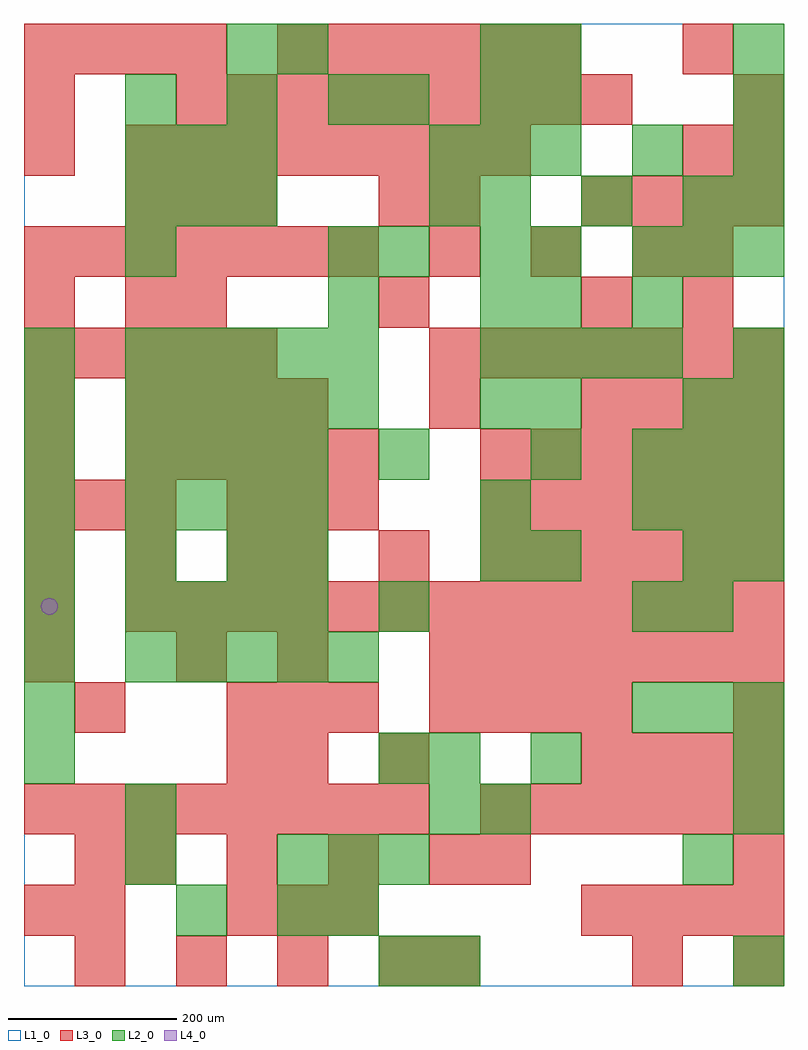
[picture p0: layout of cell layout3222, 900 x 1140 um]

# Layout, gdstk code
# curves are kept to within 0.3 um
import gdstk
lib = gdstk.Library(unit=1e-6, precision=1e-09)
def R(c, l, rs):  # rectangles x0, y0, x1, y1
    for r in rs: c.add(gdstk.rectangle(r[:2], r[2:], *l))
def A(c, l, x, y, w, h, nx, ny, dx, dy):  # array of equal rectangles
    R(c, l, [(x+i*dx, y+j*dy, x+i*dx+w, y+j*dy+h) for i in range(nx) for j in range(ny)])
def P(c, l, *ps):  # polygons
    for p in ps: c.add(gdstk.Polygon(p, *l))
L1_0 = (1, 0)
L2_0 = (2, 0)
L3_0 = (3, 0)
L4_0 = (4, 0)

layout3222 = lib.new_cell('layout3222')
R(layout3222, L1_0, [(0,0,900,1140)])
A(layout3222, L2_0, 300, 120, 60, 60, 3, 1, 60, 0)
A(layout3222, L2_0, 0, 240, 60, 60, 1, 4, 0, 60)
A(layout3222, L2_0, 420, 240, 60, 60, 1, 3, 0, 180)
A(layout3222, L2_0, 720, 300, 60, 60, 3, 2, 60, 240)
A(layout3222, L2_0, 120, 360, 60, 60, 5, 2, 60, 300)
A(layout3222, L2_0, 120, 420, 60, 60, 4, 2, 60, 120)
A(layout3222, L2_0, 0, 480, 60, 60, 3, 1, 120, 0)
A(layout3222, L2_0, 0, 540, 60, 60, 1, 4, 0, 60)
A(layout3222, L2_0, 540, 540, 60, 60, 1, 3, 0, 120)
A(layout3222, L2_0, 120, 600, 60, 60, 4, 1, 60, 0)
A(layout3222, L2_0, 720, 600, 60, 60, 3, 2, 60, 240)
A(layout3222, L2_0, 120, 720, 60, 60, 5, 1, 60, 0)
A(layout3222, L2_0, 540, 720, 60, 60, 4, 1, 60, 0)
A(layout3222, L2_0, 120, 900, 60, 60, 3, 2, 60, 60)
A(layout3222, L2_0, 540, 900, 60, 60, 3, 1, 120, 0)
A(layout3222, L2_0, 840, 900, 60, 60, 1, 4, 0, 60)
A(layout3222, L2_0, 480, 960, 60, 60, 3, 1, 60, 0)
A(layout3222, L2_0, 120, 1020, 60, 60, 3, 1, 120, 0)
R(layout3222, L2_0, [(420,0,480,60), (480,0,540,60), (840,0,900,60), (180,60,240,120), (300,60,360,120), (360,60,420,120), (120,120,180,180), (780,120,840,180), (120,180,180,240), (480,180,540,240), (540,180,600,240), (840,180,900,240), (480,240,540,300), (600,240,660,300), (840,240,900,300), (720,420,780,480), (780,420,840,480), (300,480,360,540), (540,480,600,540), (600,480,660,540), (780,480,840,540), (840,480,900,540), (600,600,660,660), (600,660,660,720), (780,660,840,720), (840,660,900,720), (840,720,900,780), (360,780,420,840), (600,780,660,840), (720,780,780,840), (120,840,180,900), (360,840,420,900), (420,840,480,900), (540,840,600,900), (600,840,660,900), (480,900,540,960), (720,960,780,1020), (420,1020,480,1080), (540,1020,600,1080), (600,1020,660,1080), (240,1080,300,1140), (300,1080,360,1140), (540,1080,600,1140), (600,1080,660,1140)])
A(layout3222, L3_0, 60, 0, 60, 60, 4, 1, 120, 0)
A(layout3222, L3_0, 240, 60, 60, 60, 3, 3, 60, 240)
A(layout3222, L3_0, 660, 60, 60, 60, 4, 2, 60, 180)
A(layout3222, L3_0, 120, 120, 60, 60, 4, 1, 120, 0)
A(layout3222, L3_0, 0, 180, 60, 60, 8, 1, 60, 0)
A(layout3222, L3_0, 540, 180, 60, 60, 6, 2, 60, 360)
A(layout3222, L3_0, 480, 300, 60, 60, 4, 1, 60, 0)
A(layout3222, L3_0, 480, 360, 60, 60, 7, 2, 60, 360)
A(layout3222, L3_0, 120, 420, 60, 60, 13, 1, 60, 0)
A(layout3222, L3_0, 0, 480, 60, 60, 3, 1, 120, 0)
A(layout3222, L3_0, 300, 480, 60, 60, 3, 1, 120, 0)
A(layout3222, L3_0, 600, 480, 60, 60, 5, 1, 60, 0)
A(layout3222, L3_0, 0, 540, 60, 60, 3, 1, 60, 0)
A(layout3222, L3_0, 120, 600, 60, 60, 5, 1, 60, 0)
A(layout3222, L3_0, 540, 600, 60, 60, 6, 1, 60, 0)
A(layout3222, L3_0, 120, 660, 60, 60, 4, 1, 60, 0)
A(layout3222, L3_0, 660, 660, 60, 60, 4, 2, 60, 240)
A(layout3222, L3_0, 0, 720, 60, 60, 5, 1, 60, 0)
A(layout3222, L3_0, 180, 780, 60, 60, 3, 1, 240, 0)
A(layout3222, L3_0, 0, 840, 60, 60, 7, 1, 60, 0)
A(layout3222, L3_0, 480, 840, 60, 60, 3, 1, 120, 0)
A(layout3222, L3_0, 780, 840, 60, 60, 1, 3, 0, 120)
A(layout3222, L3_0, 120, 900, 60, 60, 3, 1, 60, 0)
A(layout3222, L3_0, 120, 960, 60, 60, 8, 1, 60, 0)
A(layout3222, L3_0, 180, 1020, 60, 60, 9, 1, 60, 0)
A(layout3222, L3_0, 0, 1080, 60, 60, 4, 1, 60, 0)
A(layout3222, L3_0, 300, 1080, 60, 60, 6, 1, 60, 0)
R(layout3222, L3_0, [(480,0,540,60), (720,0,780,60), (840,0,900,60), (0,60,60,120), (60,60,120,120), (60,120,120,180), (540,120,600,180), (840,120,900,180), (240,240,300,300), (300,240,360,300), (420,240,480,300), (60,300,120,360), (840,300,900,360), (0,360,60,420), (180,360,240,420), (300,360,360,420), (0,420,60,480), (0,600,60,660), (0,660,60,720), (480,660,540,720), (0,780,60,840), (120,780,180,840), (780,780,840,840), (420,900,480,960), (480,900,540,960), (0,960,60,1020), (840,960,900,1020), (0,1020,60,1080), (840,1020,900,1080)])
P(layout3222, L4_0, [(40,450),(39.239,453.827),(37.071,457.071),(33.827,459.239),(30,460),(26.173,459.239),(22.929,457.071),(20.761,453.827),(20,450),(20.761,446.173),(22.929,442.929),(26.173,440.761),(30,440),(33.827,440.761),(37.071,442.929),(39.239,446.173)])

lib.write_gds('layout3222.gds')
